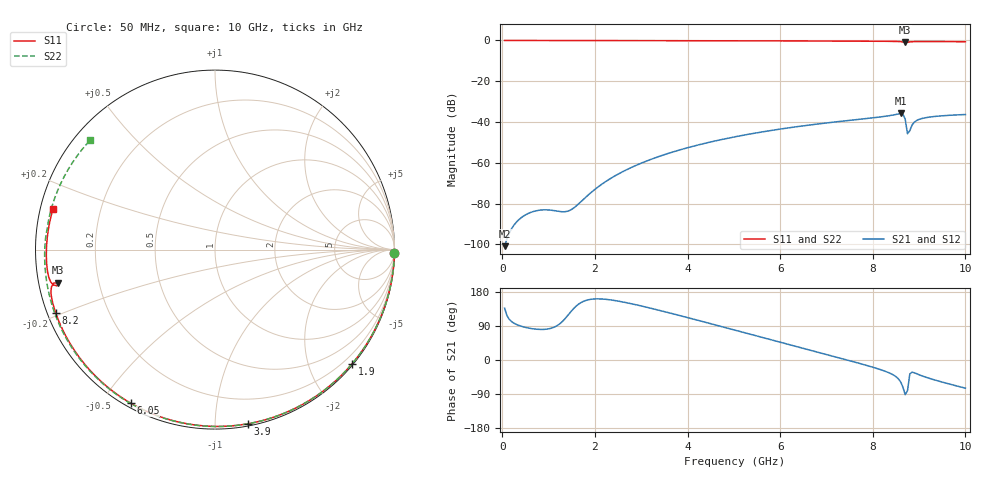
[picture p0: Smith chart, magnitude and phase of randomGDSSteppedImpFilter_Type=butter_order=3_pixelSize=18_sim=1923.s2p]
! freq	dB(S11)	phase(S11)	dB(S12)	phase(S12)
!  dB(S21)	phase(S21)	dB(S22)	phase(S22)
!S-par simulation data
#  GHz  S  DB  R 50
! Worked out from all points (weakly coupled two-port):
!   200 points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, 50 MHz to 10 GHz, reference 50 ohm
!   highest |S21| = -35.82 dB at 8.6 GHz (marker M1); lowest = -100.9 dB at 50 MHz (marker M2)
!   lowest |S11| = -1.0 dB at 8.7 GHz (marker M3), VSWR 17.87, Z = 2.83 - j5.21 ohm
!   |S11| at or under -10 dB: nowhere
!   |S22| runs from -0.7 to 0.0 dB; largest |S21 - S12| = 0
!   S11 on the Smith chart (normalised r, x): 50 MHz: open; 1.9 GHz: 0.03, -2.76; 3.9 GHz: 0.02, -1.21; 6.05 GHz: 0.02, -0.59; 8.2 GHz: 0.02, -0.19; 10 GHz: 0.04, +0.12
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0.05  -0.00 -1.1  -100.90 136.9  -100.90 136.9  -0.00 -1.2
0.8  -0.02 -17.0  -83.27 80.7  -83.27 80.7  -0.02 -18.6
1.65  -0.04 -34.8  -80.11 147.6  -80.11 147.6  -0.05 -37.9
1.75  -0.05 -36.8  -77.99 154.6  -77.99 154.6  -0.05 -40.1
1.9  -0.05 -39.9  -74.92 159.9  -74.92 159.9  -0.06 -43.5
2.55  -0.07 -53.0  -64.96 154.4  -64.96 154.4  -0.07 -57.8
3.4  -0.09 -69.7  -56.78 130.8  -56.78 130.8  -0.10 -76.0
3.9  -0.11 -79.3  -53.25 115.1  -53.25 115.1  -0.12 -86.4
5.05  -0.16 -100.7  -47.15 78.0  -47.15 78.0  -0.17 -109.8
6.05  -0.21 -118.8  -43.30 45.4  -43.30 45.4  -0.23 -129.9
6.7  -0.26 -130.5  -41.29 24.4  -41.29 24.4  -0.28 -143.1
7.5  -0.32 -145.0  -39.19 -1.8  -39.19 -1.8  -0.36 -159.8
8.2  -0.40 -158.3  -37.41 -26.8  -37.41 -26.8  -0.43 -175.3
8.35  -0.42 -161.3  -36.93 -33.7  -36.93 -33.7  -0.45 -178.8
8.6  -0.59 -167.2  -35.82 -57.5  -35.82 -57.5  -0.49 175.3
8.65  -0.75 -168.3  -36.07 -71.2  -36.07 -71.2  -0.50 174.1
8.7  -0.97 -168.1  -38.63 -91.5  -38.63 -91.5  -0.52 173.0
8.75  -0.88 -167.1  -45.76 -80.8  -45.76 -80.8  -0.52 171.8
8.8  -0.69 -167.7  -44.23 -36.8  -44.23 -36.8  -0.52 170.6
8.85  -0.60 -169.0  -41.42 -32.0  -41.42 -32.0  -0.52 169.4
9  -0.53 -172.5  -38.72 -39.0  -38.72 -39.0  -0.54 165.7
10  -0.63 165.8  -36.33 -74.3  -36.33 -74.3  -0.68 138.7
